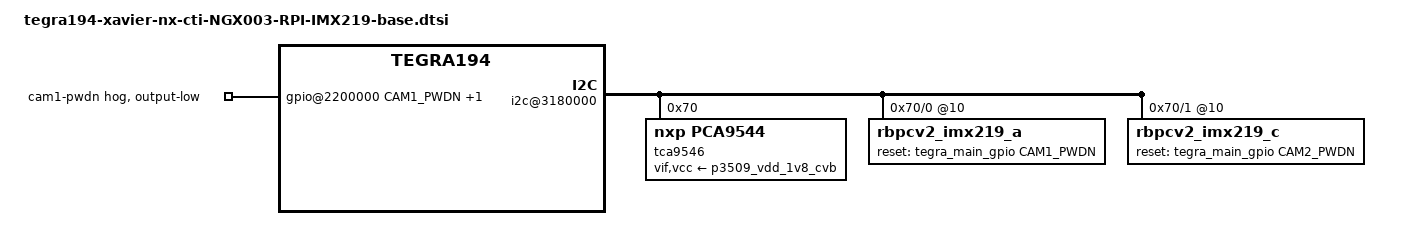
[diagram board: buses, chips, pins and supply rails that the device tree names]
/*
 * Copyright (c) 2018-2019, NVIDIA CORPORATION.  All rights reserved.
 *
 * This program is free software; you can redistribute it and/or modify
 * it under the terms of the GNU General Public License as published by
 * the Free Software Foundation; either version 2 of the License, or
 * (at your option) any later version.
 *
 * This program is distributed in the hope that it will be useful, but WITHOUT
 * ANY WARRANTY; without even the implied warranty of MERCHANTABILITY or
 * FITNESS FOR A PARTICULAR PURPOSE.  See the GNU General Public License for
 * more details.
 *
 * You should have received a copy of the GNU General Public License
 * along with this program.  If not, see <http://www.gnu.org/licenses/>.
 */
#include "tegra194-xavier-nx-cti-NGX003-RPI-IMX219.dtsi"


#define CAM1_PWDN	TEGRA194_MAIN_GPIO(P, 4)
#define CAM2_PWDN	TEGRA194_MAIN_GPIO(P, 5)

#define CAMERA_I2C_MUX_BUS(x) (0x1E + x)

/* camera control gpio definitions */

/ {	

	gpio@2200000 {
		camera-control-output-low {
			gpio-hog;
			output-low;
			gpios = <CAM1_PWDN 0 CAM2_PWDN 0>;
			label = "cam1-pwdn","cam2-pwdn";
		};
	};
	
	i2c@3180000 {
		tca9546@70 {
			compatible = "nxp,pca9544";
			reg = <0x70>;
			#address-cells = <1>;
			#size-cells = <0>;			
			//skip_mux_detect = "yes";
			vif-supply = <&p3509_vdd_1v8_cvb>;
			vcc-supply = <&p3509_vdd_1v8_cvb>;
			vcc_lp = "vcc";

			i2c@0 {
				status = "okay";
				reg = <0>;	
				i2c-mux,deselect-on-exit;
				#address-cells = <1>;
				#size-cells = <0>;
				
				rbpcv2_imx219_a@10 {
						status = "okay";
						reset-gpios = <&tegra_main_gpio CAM1_PWDN GPIO_ACTIVE_HIGH>;
				};
			};
			
			i2c@1 {
				status = "okay";
				reg = <1>;
				i2c-mux,deselect-on-exit;
				#address-cells = <1>;
				#size-cells = <0>;
				
				rbpcv2_imx219_c@10 {
						status = "okay";
						reset-gpios = <&tegra_main_gpio CAM2_PWDN GPIO_ACTIVE_HIGH>;
				};
			};
		};
	};
};
